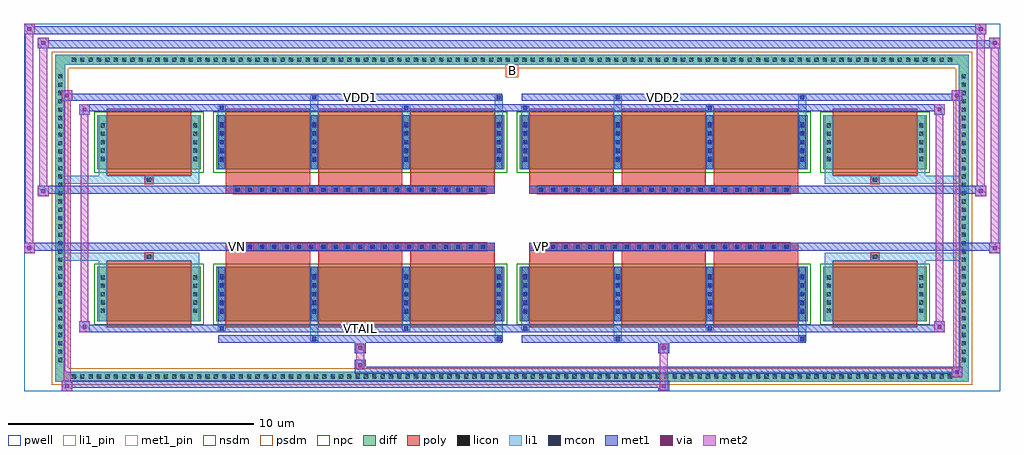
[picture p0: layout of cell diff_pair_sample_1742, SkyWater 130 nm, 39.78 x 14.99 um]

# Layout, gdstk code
import gdstk
lib = gdstk.Library(unit=1e-6, precision=5e-09)
def R(c, l, rs):  # rectangles x0, y0, x1, y1
    for r in rs: c.add(gdstk.rectangle(r[:2], r[2:], *l))
def A(c, l, x, y, w, h, nx, ny, dx, dy):  # array of equal rectangles
    R(c, l, [(x+i*dx, y+j*dy, x+i*dx+w, y+j*dy+h) for i in range(nx) for j in range(ny)])
def P(c, l, *ps):  # polygons
    for p in ps: c.add(gdstk.Polygon(p, *l))
pwell = (64, 44)
diff = (65, 20)
poly = (66, 20)
licon = (66, 44)
li1_pin = (67, 16)
li1 = (67, 20)
mcon = (67, 44)
met1_pin = (68, 16)
met1 = (68, 20)
via = (68, 44)
met2 = (69, 20)
nsdm = (93, 44)
psdm = (94, 20)
npc = (95, 20)

diff_pair_sample_1742 = lib.new_cell('diff_pair_sample_1742')
R(diff_pair_sample_1742, pwell, [(-19.89,-7.06,19.89,7.93), (-17.21,-5.25,-0.01,-0.795), (0.01,-5.25,17.21,-0.795), (-17.21,0.795,-0.01,5.25), (0.01,0.795,17.21,5.25)])
A(diff_pair_sample_1742, diff, -18.055, -6.66, 0.41, 0.41, 106, 2, 0.34, 12.91)
A(diff_pair_sample_1742, diff, -18.62, -5.985, 0.41, 0.41, 1, 35, 0, 0.34)
A(diff_pair_sample_1742, diff, 18.21, -5.985, 0.41, 0.41, 1, 35, 0, 0.34)
R(diff_pair_sample_1742, diff, [(-18.055,-6.66,18.055,-6.25), (-18.62,-5.985,-18.21,5.985), (18.21,-5.985,18.62,5.985), (-16.9,-4.205,-12.69,-1.985), (-12.05,-4.205,-0.32,-1.985), (0.32,-4.205,12.05,-1.985), (12.69,-4.205,16.9,-1.985), (-16.9,1.985,-12.69,4.205), (-12.05,1.985,-0.32,4.205), (0.32,1.985,12.05,4.205), (12.69,1.985,16.9,4.205), (-18.055,6.25,18.055,6.66)])
P(diff_pair_sample_1742, diff, [(18.62,6.66),(-18.62,6.66),(-18.62,-6.25),(-18.21,-6.25),(-18.21,6.25),(18.21,6.25),(18.21,-6.25),(-18.21,-6.25),(-18.62,-6.25),(-18.62,-6.66),(18.62,-6.66)])
A(diff_pair_sample_1742, poly, -11.66, -4.455, 3.43, 2.72, 3, 2, 3.76, 6.19)
A(diff_pair_sample_1742, poly, 0.71, -4.455, 3.43, 2.72, 3, 2, 3.76, 6.19)
A(diff_pair_sample_1742, poly, -11.66, -1.735, 3.43, 0.41, 3, 2, 3.76, 3.06)
A(diff_pair_sample_1742, poly, 0.71, -1.735, 3.43, 0.41, 3, 2, 3.76, 3.06)
A(diff_pair_sample_1742, poly, -11.35, -1.325, 0.33, 0.33, 21, 2, 0.5, 2.32)
A(diff_pair_sample_1742, poly, 1.02, -1.325, 0.33, 0.33, 21, 2, 0.5, 2.32)
R(diff_pair_sample_1742, poly, [(-16.51,-4.455,-13.08,-1.735), (13.08,-4.455,16.51,-1.735), (-14.96,-1.735,-14.63,-1.405), (-14.96,-1.735,-14.63,-1.405), (14.63,-1.735,14.96,-1.405), (14.63,-1.735,14.96,-1.405), (-11.66,-1.325,-0.71,-0.995), (0.71,-1.325,11.66,-0.995), (-11.66,0.995,-0.71,1.325), (0.71,0.995,11.66,1.325), (-14.96,1.405,-14.63,1.735), (-14.96,1.405,-14.63,1.735), (14.63,1.405,14.96,1.735), (14.63,1.405,14.96,1.735), (-16.51,1.735,-13.08,4.455), (13.08,1.735,16.51,4.455)])
A(diff_pair_sample_1742, licon, -17.935, -6.54, 0.17, 0.17, 106, 2, 0.34, 12.91)
A(diff_pair_sample_1742, licon, -18.5, -5.865, 0.17, 0.17, 1, 35, 0, 0.34)
A(diff_pair_sample_1742, licon, 18.33, -5.865, 0.17, 0.17, 1, 35, 0, 0.34)
A(diff_pair_sample_1742, licon, -16.76, -3.86, 0.17, 0.17, 1, 5, 0, 0.34)
A(diff_pair_sample_1742, licon, -13, -3.86, 0.17, 0.17, 1, 5, 0, 0.34)
A(diff_pair_sample_1742, licon, -11.91, -3.86, 0.17, 0.17, 4, 5, 3.76, 0.34)
A(diff_pair_sample_1742, licon, 0.46, -3.86, 0.17, 0.17, 4, 5, 3.76, 0.34)
A(diff_pair_sample_1742, licon, 12.83, -3.86, 0.17, 0.17, 1, 5, 0, 0.34)
A(diff_pair_sample_1742, licon, 16.59, -3.86, 0.17, 0.17, 1, 5, 0, 0.34)
A(diff_pair_sample_1742, licon, -11.27, -1.245, 0.17, 0.17, 21, 2, 0.5, 2.32)
A(diff_pair_sample_1742, licon, 1.1, -1.245, 0.17, 0.17, 21, 2, 0.5, 2.32)
A(diff_pair_sample_1742, licon, -16.76, 2.33, 0.17, 0.17, 1, 5, 0, 0.34)
A(diff_pair_sample_1742, licon, -13, 2.33, 0.17, 0.17, 1, 5, 0, 0.34)
A(diff_pair_sample_1742, licon, -11.91, 2.33, 0.17, 0.17, 4, 5, 3.76, 0.34)
A(diff_pair_sample_1742, licon, 0.46, 2.33, 0.17, 0.17, 4, 5, 3.76, 0.34)
A(diff_pair_sample_1742, licon, 12.83, 2.33, 0.17, 0.17, 1, 5, 0, 0.34)
A(diff_pair_sample_1742, licon, 16.59, 2.33, 0.17, 0.17, 1, 5, 0, 0.34)
R(diff_pair_sample_1742, licon, [(-14.88,-1.655,-14.71,-1.485), (14.71,-1.655,14.88,-1.485), (-14.88,1.485,-14.71,1.655), (14.71,1.485,14.88,1.655)])
R(diff_pair_sample_1742, li1_pin, [(-0.25,5.75,0.25,6.25)])
A(diff_pair_sample_1742, li1, -18.015, -6.62, 0.33, 0.33, 106, 2, 0.34, 12.91)
A(diff_pair_sample_1742, li1, -18.58, -5.945, 0.33, 0.33, 1, 35, 0, 0.34)
A(diff_pair_sample_1742, li1, 18.25, -5.945, 0.33, 0.33, 1, 35, 0, 0.34)
A(diff_pair_sample_1742, li1, -11.99, -4.205, 0.33, 2.22, 4, 2, 3.76, 6.19)
A(diff_pair_sample_1742, li1, 0.38, -4.205, 0.33, 2.22, 4, 2, 3.76, 6.19)
A(diff_pair_sample_1742, li1, -16.84, -3.94, 0.33, 0.33, 1, 5, 0, 0.34)
A(diff_pair_sample_1742, li1, -13.08, -3.94, 0.33, 0.33, 1, 5, 0, 0.34)
A(diff_pair_sample_1742, li1, -11.99, -3.94, 0.33, 0.33, 4, 5, 3.76, 0.34)
A(diff_pair_sample_1742, li1, 0.38, -3.94, 0.33, 0.33, 4, 5, 3.76, 0.34)
A(diff_pair_sample_1742, li1, 12.75, -3.94, 0.33, 0.33, 1, 5, 0, 0.34)
A(diff_pair_sample_1742, li1, 16.51, -3.94, 0.33, 0.33, 1, 5, 0, 0.34)
A(diff_pair_sample_1742, li1, -11.91, -3.9, 0.17, 0.17, 4, 5, 3.76, 0.36)
A(diff_pair_sample_1742, li1, -11.91, -3.9, 0.17, 1.61, 4, 2, 3.76, 6.19)
A(diff_pair_sample_1742, li1, 0.46, -3.9, 0.17, 0.17, 4, 5, 3.76, 0.36)
A(diff_pair_sample_1742, li1, 0.46, -3.9, 0.17, 1.61, 4, 2, 3.76, 6.19)
A(diff_pair_sample_1742, li1, -11.35, -1.325, 0.33, 0.33, 21, 2, 0.5, 2.32)
A(diff_pair_sample_1742, li1, 1.02, -1.325, 0.33, 0.33, 21, 2, 0.5, 2.32)
A(diff_pair_sample_1742, li1, -16.84, 2.25, 0.33, 0.33, 1, 5, 0, 0.34)
A(diff_pair_sample_1742, li1, -13.08, 2.25, 0.33, 0.33, 1, 5, 0, 0.34)
A(diff_pair_sample_1742, li1, -11.99, 2.25, 0.33, 0.33, 4, 5, 3.76, 0.34)
A(diff_pair_sample_1742, li1, 0.38, 2.25, 0.33, 0.33, 4, 5, 3.76, 0.34)
A(diff_pair_sample_1742, li1, 12.75, 2.25, 0.33, 0.33, 1, 5, 0, 0.34)
A(diff_pair_sample_1742, li1, 16.51, 2.25, 0.33, 0.33, 1, 5, 0, 0.34)
A(diff_pair_sample_1742, li1, -11.91, 2.29, 0.17, 0.17, 4, 5, 3.76, 0.36)
A(diff_pair_sample_1742, li1, 0.46, 2.29, 0.17, 0.17, 4, 5, 3.76, 0.36)
R(diff_pair_sample_1742, li1, [(-18.62,-6.66,-18.21,-6.25), (-18.62,-6.66,-18.21,-6.25), (-18.21,-6.66,18.21,-6.25), (18.21,-6.66,18.62,-6.25), (18.21,-6.66,18.62,-6.25), (-18.62,-6.25,-18.21,6.25), (18.21,-6.25,18.62,6.25), (-8.23,-5.01,-7.9,-4.205), (-8.15,-5.01,-7.98,-4.84), (-0.71,-5.01,-0.38,-4.205), (-0.63,-5.01,-0.46,-4.84), (4.14,-5.01,4.47,-4.205), (4.22,-5.01,4.39,-4.84), (11.66,-5.01,11.99,-4.205), (11.74,-5.01,11.91,-4.84), (-11.99,-4.58,-11.66,-4.205), (-11.91,-4.58,-11.74,-4.41), (-4.47,-4.58,-4.14,-4.205), (-4.39,-4.58,-4.22,-4.41), (0.38,-4.58,0.71,-4.205), (0.46,-4.58,0.63,-4.41), (7.9,-4.58,8.23,-4.205), (7.98,-4.58,8.15,-4.41), (-16.84,-4.205,-16.51,-1.985), (-13.08,-4.205,-12.75,-1.985), (12.75,-4.205,13.08,-1.985), (16.51,-4.205,16.84,-1.985), (-16.84,-1.985,-16.51,-1.405), (-13.08,-1.985,-12.75,-1.405), (12.75,-1.985,13.08,-1.405), (16.51,-1.985,16.84,-1.405), (-18.62,-1.735,-14.96,-1.405), (-16.84,-1.735,-14.96,-1.405), (-14.96,-1.735,-14.63,-1.405), (-14.63,-1.735,-12.75,-1.405), (12.75,-1.735,14.63,-1.405), (14.63,-1.735,14.96,-1.405), (14.63,-1.735,18.62,-1.405), (14.96,-1.735,16.84,-1.405), (-18.62,1.405,-14.96,1.735), (-16.84,1.405,-14.96,1.735), (-16.84,1.405,-16.51,1.985), (-14.96,1.405,-14.63,1.735), (-14.63,1.405,-12.75,1.735), (-13.08,1.405,-12.75,1.985), (12.75,1.405,14.63,1.735), (12.75,1.405,13.08,1.985), (14.63,1.405,14.96,1.735), (14.63,1.405,18.62,1.735), (14.96,1.405,16.84,1.735), (16.51,1.405,16.84,1.985), (-16.84,1.985,-16.51,4.205), (-13.08,1.985,-12.75,4.205), (12.75,1.985,13.08,4.205), (16.51,1.985,16.84,4.205), (-11.99,4.205,-11.66,4.58), (-8.23,4.205,-7.9,5.01), (-4.47,4.205,-4.14,4.58), (-0.71,4.205,-0.38,5.01), (0.38,4.205,0.71,4.58), (4.14,4.205,4.47,5.01), (7.9,4.205,8.23,4.58), (11.66,4.205,11.99,5.01), (-11.91,4.41,-11.74,4.58), (-4.39,4.41,-4.22,4.58), (0.46,4.41,0.63,4.58), (7.98,4.41,8.15,4.58), (-8.15,4.84,-7.98,5.01), (-0.63,4.84,-0.46,5.01), (4.22,4.84,4.39,5.01), (11.74,4.84,11.91,5.01), (-18.62,6.25,-18.21,6.66), (-18.62,6.25,-18.21,6.66), (-18.21,6.25,18.21,6.66), (18.21,6.25,18.62,6.66), (18.21,6.25,18.62,6.66)])
A(diff_pair_sample_1742, mcon, -11.91, -3.9, 0.17, 0.17, 4, 5, 3.76, 0.36)
A(diff_pair_sample_1742, mcon, 0.46, -3.9, 0.17, 0.17, 4, 5, 3.76, 0.36)
A(diff_pair_sample_1742, mcon, -11.27, -1.245, 0.17, 0.17, 21, 2, 0.5, 2.32)
A(diff_pair_sample_1742, mcon, 1.1, -1.245, 0.17, 0.17, 21, 2, 0.5, 2.32)
A(diff_pair_sample_1742, mcon, -11.91, 2.29, 0.17, 0.17, 4, 5, 3.76, 0.36)
A(diff_pair_sample_1742, mcon, 0.46, 2.29, 0.17, 0.17, 4, 5, 3.76, 0.36)
R(diff_pair_sample_1742, mcon, [(-8.15,-5.01,-7.98,-4.84), (-0.63,-5.01,-0.46,-4.84), (4.22,-5.01,4.39,-4.84), (11.74,-5.01,11.91,-4.84), (-11.91,-4.58,-11.74,-4.41), (-4.39,-4.58,-4.22,-4.41), (0.46,-4.58,0.63,-4.41), (7.98,-4.58,8.15,-4.41), (-11.91,4.41,-11.74,4.58), (-4.39,4.41,-4.22,4.58), (0.46,4.41,0.63,4.58), (7.98,4.41,8.15,4.58), (-8.15,4.84,-7.98,5.01), (-0.63,4.84,-0.46,5.01), (4.22,4.84,4.39,5.01), (11.74,4.84,11.91,5.01)])
R(diff_pair_sample_1742, met1_pin, [(-6.32,-4.62,-6.05,-4.35), (-11.32,-1.285,-11.05,-1.015), (1.05,-1.285,1.32,-1.015), (-6.32,4.8,-6.05,5.07), (6.05,4.8,6.32,5.07)])
A(diff_pair_sample_1742, met1, -11.97, -4.205, 0.29, 2.22, 4, 2, 3.76, 6.19)
A(diff_pair_sample_1742, met1, 0.4, -4.205, 0.29, 2.22, 4, 2, 3.76, 6.19)
A(diff_pair_sample_1742, met1, -11.97, -3.96, 0.29, 0.29, 4, 5, 3.76, 0.36)
A(diff_pair_sample_1742, met1, 0.4, -3.96, 0.29, 0.29, 4, 5, 3.76, 0.36)
A(diff_pair_sample_1742, met1, -11.33, -1.305, 0.29, 0.29, 21, 2, 0.5, 2.32)
A(diff_pair_sample_1742, met1, 1.04, -1.305, 0.29, 0.29, 21, 2, 0.5, 2.32)
A(diff_pair_sample_1742, met1, -11.97, 2.23, 0.29, 0.29, 4, 5, 3.76, 0.36)
A(diff_pair_sample_1742, met1, 0.4, 2.23, 0.29, 0.29, 4, 5, 3.76, 0.36)
R(diff_pair_sample_1742, met1, [(-18.35,-7.06,-17.92,-6.63), (5.97,-7.06,6.4,-6.63), (-18.35,-6.92,6.4,-6.63), (17.92,-6.49,18.35,-6.06), (-6.4,-6.35,18.35,-6.06), (-6.4,-6.21,-5.97,-5.78), (-6.4,-5.5,-5.97,-5.07), (5.97,-5.5,6.4,-5.07), (-11.97,-5.07,-0.4,-4.78), (-8.21,-5.07,-7.92,-4.78), (-0.69,-5.07,-0.4,-4.78), (0.4,-5.07,11.97,-4.78), (4.16,-5.07,4.45,-4.78), (11.68,-5.07,11.97,-4.78), (-17.64,-4.64,-17.21,-4.21), (-17.64,-4.64,-11.97,-4.35), (-11.97,-4.64,-11.68,-4.35), (-11.97,-4.64,-0.4,-4.35), (-4.45,-4.64,-4.16,-4.35), (-0.4,-4.64,0.4,-4.35), (0.4,-4.64,0.69,-4.35), (0.4,-4.64,11.97,-4.35), (7.92,-4.64,8.21,-4.35), (11.97,-4.64,17.64,-4.35), (17.21,-4.64,17.64,-4.21), (-19.89,-1.425,-19.46,-0.995), (19.46,-1.425,19.89,-0.995), (-19.89,-1.325,-0.71,-0.995), (-11.66,-1.325,-0.71,-0.995), (0.71,-1.325,11.66,-0.995), (0.71,-1.325,19.89,-0.995), (-19.32,0.895,-18.89,1.325), (18.89,0.895,19.32,1.325), (-19.32,0.995,-11.66,1.325), (-11.66,0.995,-0.71,1.325), (0.71,0.995,11.66,1.325), (11.66,0.995,19.32,1.325), (-17.64,4.21,-17.21,4.64), (17.21,4.21,17.64,4.64), (-17.64,4.35,-11.97,4.64), (-11.97,4.35,-11.68,4.64), (-11.97,4.35,-0.4,4.64), (-4.45,4.35,-4.16,4.64), (-0.4,4.35,0.4,4.64), (0.4,4.35,0.69,4.64), (0.4,4.35,11.97,4.64), (7.92,4.35,8.21,4.64), (11.97,4.35,17.64,4.64), (-18.35,4.78,-17.92,5.21), (-18.35,4.78,-11.97,5.07), (-11.97,4.78,-0.4,5.07), (-8.21,4.78,-7.92,5.07), (-0.69,4.78,-0.4,5.07), (0.4,4.78,11.97,5.07), (4.16,4.78,4.45,5.07), (11.68,4.78,11.97,5.07), (11.97,4.78,18.35,5.07), (17.92,4.78,18.35,5.21), (-19.32,6.93,-18.89,7.36), (-19.32,6.93,-17.21,7.26), (-17.21,6.93,17.21,7.26), (17.21,6.93,19.89,7.26), (19.46,6.93,19.89,7.36), (-19.89,7.5,-19.46,7.93), (-19.89,7.5,-17.21,7.83), (-17.21,7.5,17.21,7.83), (17.21,7.5,19.32,7.83), (18.89,7.5,19.32,7.93)])
R(diff_pair_sample_1742, via, [(-18.21,-6.92,-18.06,-6.77), (6.11,-6.92,6.26,-6.77), (18.06,-6.35,18.21,-6.2), (-6.26,-6.07,-6.11,-5.92), (-6.26,-5.36,-6.11,-5.21), (6.11,-5.36,6.26,-5.21), (-17.5,-4.5,-17.35,-4.35), (17.35,-4.5,17.5,-4.35), (-19.75,-1.285,-19.6,-1.135), (19.6,-1.285,19.75,-1.135), (-19.18,1.035,-19.03,1.185), (19.03,1.035,19.18,1.185), (-17.5,4.35,-17.35,4.5), (17.35,4.35,17.5,4.5), (-18.21,4.92,-18.06,5.07), (18.06,4.92,18.21,5.07), (-19.18,7.07,-19.03,7.22), (19.6,7.07,19.75,7.22), (-19.75,7.64,-19.6,7.79), (19.03,7.64,19.18,7.79)])
R(diff_pair_sample_1742, met2, [(-18.35,-7.06,-17.92,-6.63), (-18.28,-7.06,-17.99,5.21), (-17.99,-7.06,-17.92,-6.63), (-18.3,-7.01,-17.97,-6.68), (6.02,-7.01,6.35,-6.68), (6.02,-6.68,6.35,-5.45), (17.92,-6.49,18.35,-6.06), (17.99,-6.49,18.28,5.21), (18.28,-6.49,18.35,-6.06), (17.97,-6.44,18.3,-6.11), (-6.35,-6.16,-6.02,-5.83), (-6.35,-5.83,-6.02,-5.45), (-6.35,-5.45,-6.02,-5.12), (6.02,-5.45,6.35,-5.12), (-17.64,-4.64,-17.21,-4.21), (-17.57,-4.64,-17.28,4.64), (-17.28,-4.64,-17.21,-4.21), (17.21,-4.64,17.64,-4.21), (17.28,-4.64,17.57,4.64), (17.57,-4.64,17.64,-4.21), (-17.59,-4.59,-17.26,-4.26), (17.26,-4.59,17.59,-4.26), (-19.89,-1.425,-19.46,-0.995), (-19.84,-1.425,-19.51,7.93), (-19.51,-1.425,-19.46,-0.995), (19.46,-1.425,19.89,-0.995), (19.51,-1.425,19.84,7.36), (19.84,-1.425,19.89,-0.995), (-19.84,-1.375,-19.51,-1.045), (19.51,-1.375,19.84,-1.045), (-19.32,0.895,-18.89,1.325), (-19.27,0.895,-18.94,7.36), (-18.94,0.895,-18.89,1.325), (18.89,0.895,19.32,1.325), (18.94,0.895,19.27,7.93), (19.27,0.895,19.32,1.325), (-19.27,0.945,-18.94,1.275), (18.94,0.945,19.27,1.275), (-17.64,4.21,-17.21,4.64), (-17.28,4.21,-17.21,4.64), (17.21,4.21,17.64,4.64), (17.57,4.21,17.64,4.64), (-17.59,4.26,-17.26,4.59), (17.26,4.26,17.59,4.59), (-18.35,4.78,-17.92,5.21), (-17.99,4.78,-17.92,5.21), (17.92,4.78,18.35,5.21), (18.28,4.78,18.35,5.21), (-18.3,4.83,-17.97,5.16), (17.97,4.83,18.3,5.16), (-19.32,6.93,-18.89,7.36), (-18.94,6.93,-18.89,7.36), (19.46,6.93,19.89,7.36), (19.84,6.93,19.89,7.36), (-19.27,6.98,-18.94,7.31), (19.51,6.98,19.84,7.31), (-19.89,7.5,-19.46,7.93), (-19.51,7.5,-19.46,7.93), (18.89,7.5,19.32,7.93), (19.27,7.5,19.32,7.93), (-19.84,7.55,-19.51,7.88), (18.94,7.55,19.27,7.88)])
R(diff_pair_sample_1742, nsdm, [(-17.03,-4.335,-12.56,-1.855), (-12.18,-4.335,-0.19,-1.855), (0.19,-4.335,12.18,-1.855), (12.56,-4.335,17.03,-1.855), (-17.03,1.855,-12.56,4.335), (-12.18,1.855,-0.19,4.335), (0.19,1.855,12.18,4.335), (12.56,1.855,17.03,4.335)])
P(diff_pair_sample_1742, psdm, [(18.75,6.79),(-18.75,6.79),(-18.75,-6.12),(-18.08,-6.12),(-18.08,6.12),(18.08,6.12),(18.08,-6.12),(-18.08,-6.12),(-18.75,-6.12),(-18.75,-6.79),(18.75,-6.79)])
A(diff_pair_sample_1742, npc, -11.37, -1.345, 0.37, 0.37, 21, 2, 0.5, 2.32)
A(diff_pair_sample_1742, npc, 1, -1.345, 0.37, 0.37, 21, 2, 0.5, 2.32)
R(diff_pair_sample_1742, npc, [(-14.98,-1.755,-14.61,-1.385), (14.61,-1.755,14.98,-1.385), (-11.37,-1.345,-10.5,-0.975), (-11.37,-1.345,-10.5,-0.975), (-10.87,-1.345,-10,-0.975), (-10.87,-1.345,-10,-0.975), (-10.37,-1.345,-9.5,-0.975), (-10.37,-1.345,-9.5,-0.975), (-9.87,-1.345,-9,-0.975), (-9.87,-1.345,-9,-0.975), (-9.37,-1.345,-8.5,-0.975), (-9.37,-1.345,-8.5,-0.975), (-8.87,-1.345,-8,-0.975), (-8.87,-1.345,-8,-0.975), (-8.37,-1.345,-7.5,-0.975), (-8.37,-1.345,-7.5,-0.975), (-7.87,-1.345,-7,-0.975), (-7.87,-1.345,-7,-0.975), (-7.37,-1.345,-6.5,-0.975), (-7.37,-1.345,-6.5,-0.975), (-6.87,-1.345,-6,-0.975), (-6.87,-1.345,-6,-0.975), (-6.37,-1.345,-5.5,-0.975), (-6.37,-1.345,-5.5,-0.975), (-5.87,-1.345,-5,-0.975), (-5.87,-1.345,-5,-0.975), (-5.37,-1.345,-4.5,-0.975), (-5.37,-1.345,-4.5,-0.975), (-4.87,-1.345,-4,-0.975), (-4.87,-1.345,-4,-0.975), (-4.37,-1.345,-3.5,-0.975), (-4.37,-1.345,-3.5,-0.975), (-3.87,-1.345,-3,-0.975), (-3.87,-1.345,-3,-0.975), (-3.37,-1.345,-2.5,-0.975), (-3.37,-1.345,-2.5,-0.975), (-2.87,-1.345,-2,-0.975), (-2.87,-1.345,-2,-0.975), (-2.37,-1.345,-1.5,-0.975), (-2.37,-1.345,-1.5,-0.975), (-1.87,-1.345,-1,-0.975), (-1.87,-1.345,-1,-0.975), (1,-1.345,1.87,-0.975), (1,-1.345,1.87,-0.975), (1.5,-1.345,2.37,-0.975), (1.5,-1.345,2.37,-0.975), (2,-1.345,2.87,-0.975), (2,-1.345,2.87,-0.975), (2.5,-1.345,3.37,-0.975), (2.5,-1.345,3.37,-0.975), (3,-1.345,3.87,-0.975), (3,-1.345,3.87,-0.975), (3.5,-1.345,4.37,-0.975), (3.5,-1.345,4.37,-0.975), (4,-1.345,4.87,-0.975), (4,-1.345,4.87,-0.975), (4.5,-1.345,5.37,-0.975), (4.5,-1.345,5.37,-0.975), (5,-1.345,5.87,-0.975), (5,-1.345,5.87,-0.975), (5.5,-1.345,6.37,-0.975), (5.5,-1.345,6.37,-0.975), (6,-1.345,6.87,-0.975), (6,-1.345,6.87,-0.975), (6.5,-1.345,7.37,-0.975), (6.5,-1.345,7.37,-0.975), (7,-1.345,7.87,-0.975), (7,-1.345,7.87,-0.975), (7.5,-1.345,8.37,-0.975), (7.5,-1.345,8.37,-0.975), (8,-1.345,8.87,-0.975), (8,-1.345,8.87,-0.975), (8.5,-1.345,9.37,-0.975), (8.5,-1.345,9.37,-0.975), (9,-1.345,9.87,-0.975), (9,-1.345,9.87,-0.975), (9.5,-1.345,10.37,-0.975), (9.5,-1.345,10.37,-0.975), (10,-1.345,10.87,-0.975), (10,-1.345,10.87,-0.975), (10.5,-1.345,11.37,-0.975), (10.5,-1.345,11.37,-0.975), (-11.37,0.975,-10.5,1.345), (-11.37,0.975,-10.5,1.345), (-10.87,0.975,-10,1.345), (-10.87,0.975,-10,1.345), (-10.37,0.975,-9.5,1.345), (-10.37,0.975,-9.5,1.345), (-9.87,0.975,-9,1.345), (-9.87,0.975,-9,1.345), (-9.37,0.975,-8.5,1.345), (-9.37,0.975,-8.5,1.345), (-8.87,0.975,-8,1.345), (-8.87,0.975,-8,1.345), (-8.37,0.975,-7.5,1.345), (-8.37,0.975,-7.5,1.345), (-7.87,0.975,-7,1.345), (-7.87,0.975,-7,1.345), (-7.37,0.975,-6.5,1.345), (-7.37,0.975,-6.5,1.345), (-6.87,0.975,-6,1.345), (-6.87,0.975,-6,1.345), (-6.37,0.975,-5.5,1.345), (-6.37,0.975,-5.5,1.345), (-5.87,0.975,-5,1.345), (-5.87,0.975,-5,1.345), (-5.37,0.975,-4.5,1.345), (-5.37,0.975,-4.5,1.345), (-4.87,0.975,-4,1.345), (-4.87,0.975,-4,1.345), (-4.37,0.975,-3.5,1.345), (-4.37,0.975,-3.5,1.345), (-3.87,0.975,-3,1.345), (-3.87,0.975,-3,1.345), (-3.37,0.975,-2.5,1.345), (-3.37,0.975,-2.5,1.345), (-2.87,0.975,-2,1.345), (-2.87,0.975,-2,1.345), (-2.37,0.975,-1.5,1.345), (-2.37,0.975,-1.5,1.345), (-1.87,0.975,-1,1.345), (-1.87,0.975,-1,1.345), (1,0.975,1.87,1.345), (1,0.975,1.87,1.345), (1.5,0.975,2.37,1.345), (1.5,0.975,2.37,1.345), (2,0.975,2.87,1.345), (2,0.975,2.87,1.345), (2.5,0.975,3.37,1.345), (2.5,0.975,3.37,1.345), (3,0.975,3.87,1.345), (3,0.975,3.87,1.345), (3.5,0.975,4.37,1.345), (3.5,0.975,4.37,1.345), (4,0.975,4.87,1.345), (4,0.975,4.87,1.345), (4.5,0.975,5.37,1.345), (4.5,0.975,5.37,1.345), (5,0.975,5.87,1.345), (5,0.975,5.87,1.345), (5.5,0.975,6.37,1.345), (5.5,0.975,6.37,1.345), (6,0.975,6.87,1.345), (6,0.975,6.87,1.345), (6.5,0.975,7.37,1.345), (6.5,0.975,7.37,1.345), (7,0.975,7.87,1.345), (7,0.975,7.87,1.345), (7.5,0.975,8.37,1.345), (7.5,0.975,8.37,1.345), (8,0.975,8.87,1.345), (8,0.975,8.87,1.345), (8.5,0.975,9.37,1.345), (8.5,0.975,9.37,1.345), (9,0.975,9.87,1.345), (9,0.975,9.87,1.345), (9.5,0.975,10.37,1.345), (9.5,0.975,10.37,1.345), (10,0.975,10.87,1.345), (10,0.975,10.87,1.345), (10.5,0.975,11.37,1.345), (10.5,0.975,11.37,1.345), (-14.98,1.385,-14.61,1.755), (14.61,1.385,14.98,1.755)])
diff_pair_sample_1742.add(gdstk.Label('VTAIL', (-6.185,-4.485), layer=68, texttype=5))
diff_pair_sample_1742.add(gdstk.Label('VN', (-11.185,-1.15), layer=68, texttype=5))
diff_pair_sample_1742.add(gdstk.Label('VP', (1.185,-1.15), layer=68, texttype=5))
diff_pair_sample_1742.add(gdstk.Label('B', (0,6), layer=67, texttype=5))
diff_pair_sample_1742.add(gdstk.Label('VDD2', (6.185,4.935), layer=68, texttype=5))
diff_pair_sample_1742.add(gdstk.Label('VDD1', (-6.185,4.935), layer=68, texttype=5))

lib.write_gds('diff_pair_sample_1742.gds')
